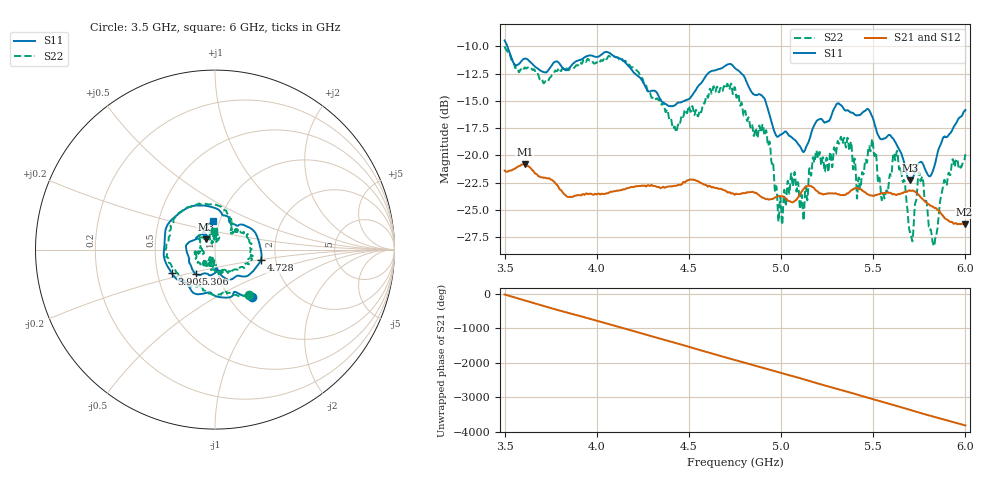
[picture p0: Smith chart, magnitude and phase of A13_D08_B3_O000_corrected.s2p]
! Created with skrf 1.9.0 (http://scikit-rf.org).
# Hz S RI R 50.0
!freq ReS11 ImS11 ReS21 ImS21 ReS12 ImS12 ReS22 ImS22
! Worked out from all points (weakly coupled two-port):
!   1601 points, 3.5 GHz to 6 GHz, reference 50 ohm
!   highest |S21| = -20.81 dB at 3.609 GHz (marker M1); lowest = -26.3 dB at 5.995 GHz (marker M2)
!   lowest |S11| = -22.3 dB at 5.702 GHz (marker M3), VSWR 1.17, Z = 44.9 + j5.18 ohm
!   |S11| at or under -10 dB: 3.515 GHz to end of sweep
!   |S22| runs from -28.3 to -10.0 dB; largest |S21 - S12| = 0.0012
!   S11 on the Smith chart (normalised r, x): 3.5 GHz: 1.27, -0.76; 3.909 GHz: 0.59, -0.17; 4.728 GHz: 1.67, -0.21; 5.306 GHz: 0.78, -0.22; 6 GHz: 0.93, +0.31
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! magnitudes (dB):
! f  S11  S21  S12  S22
! 3.5 GHz  -9.5  -21.4  -21.4  -10.0
! 3.609 GHz  -11.1  -20.8  -20.8  -11.9
! 3.909 GHz  -11.2  -23.7  -23.7  -11.5
! 3.917 GHz  -11.2  -23.7  -23.6  -11.6
! 4.334 GHz  -14.5  -22.9  -22.9  -14.9
! 4.425 GHz  -15.4  -22.8  -22.8  -17.5
! 4.728 GHz  -11.6  -23.5  -23.4  -13.4
! 4.75 GHz  -12.0  -23.6  -23.5  -13.8
! 4.911 GHz  -14.8  -24.0  -23.9  -18.2
! 4.995 GHz  -18.1  -23.8  -23.7  -23.8
! 5.064 GHz  -18.4  -24.3  -24.3  -22.9
! 5.114 GHz  -19.6  -23.3  -23.3  -23.9
! 5.167 GHz  -17.8  -22.9  -22.9  -21.2
! 5.306 GHz  -15.2  -23.6  -23.5  -18.7
! 5.584 GHz  -18.1  -23.5  -23.4  -22.6
! 5.636 GHz  -19.3  -23.6  -23.5  -20.5
! 5.702 GHz  -22.3  -23.3  -23.3  -27.2
! 5.753 GHz  -20.6  -23.8  -23.7  -22.0
! 5.83 GHz  -21.1  -24.8  -24.8  -28.3
! 5.88 GHz  -18.4  -25.6  -25.6  -22.7
! 5.995 GHz  -15.9  -26.3  -26.3  -20.4
! 6 GHz  -15.8  -26.3  -26.3  -19.9
